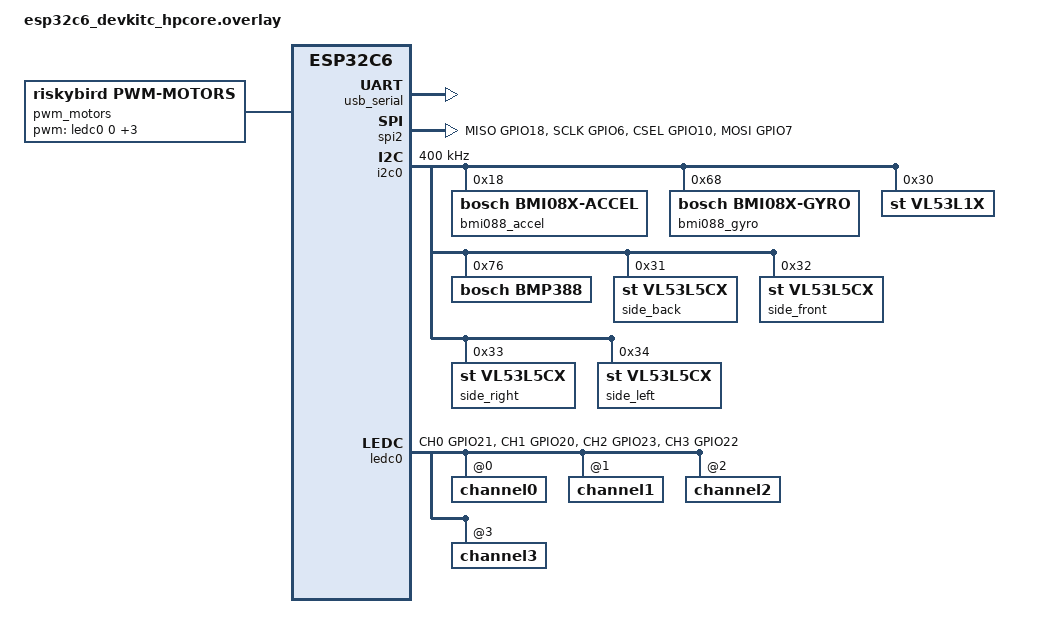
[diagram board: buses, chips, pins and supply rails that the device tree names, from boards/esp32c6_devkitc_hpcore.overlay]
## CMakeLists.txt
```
# SPDX-License-Identifier: Apache-2.0
cmake_minimum_required(VERSION 3.20.0)

find_package(Zephyr REQUIRED HINTS $ENV{ZEPHYR_BASE})
project(rose_flight_controller)

# Reuse the TinyMPC controller from samples/drone_control (requires:
#   git -C soc/sw/xpu-rt/zephyr-chipyard-sw submodule update --init
#   samples/drone_control/tinympc  -- see README.rst).
set(TINYMPC ${CMAKE_CURRENT_SOURCE_DIR}/../drone_control/tinympc)

if(RISCV_VECTOR)
  set(USE_CPU OFF CACHE BOOL "Enable RISCV Scalar support")
  set(USE_RVV ON  CACHE BOOL "Enable RVV support")
  set(USE_HANDOPT ON CACHE BOOL "Enable manual optimizations")
else()
  set(USE_CPU ON  CACHE BOOL "Enable RISCV Scalar support")
  set(USE_RVV OFF CACHE BOOL "Enable RVV support")
  set(USE_HANDOPT OFF CACHE BOOL "Enable manual optimizations")
endif()
set(USE_TYPE "float32" CACHE STRING "Floating point type for TinyMPC")

include(${TINYMPC}/external/matlib/matlib_header.cmake)

# State estimator selection (modular IStateEstimator; both are compiled, factory picks):
#   -DROSE_USE_EKF=0 -> complementary (quaternion Mahony + fixed-gain + lead compensation)
#   -DROSE_USE_EKF=1 -> EKF (quaternion Mahony + per-axis Kalman)
# Estimator selection (both compiled; factory picks). Default is the complementary filter,
# which currently holds the ALTITUDE loop best (its explicit vz correction beats the EKF's
# Kalman vz for control). The EKF is the robustness target (Q/R for noise) but its vz needs
# a direct velocity measurement to match; both use model-based delay compensation.
set(ROSE_USE_EKF 1 CACHE STRING "1=EKF, 0=complementary filter")
# Controller selection (modular IController; both are compiled, factory picks):
#   -DROSE_USE_PID=0 -> TinyMPC constrained MPC (default)
#   -DROSE_USE_PID=1 -> hierarchical PID cascade (ported from the old riskybird FreeRTOS firmware)
set(ROSE_USE_PID 0 CACHE STRING "1=hierarchical PID, 0=TinyMPC")
# Architecture knobs: ROSE_THREADED (1=modular threaded blocks, 0=single loop) and
# ROSE_CTRL_DIV (control runs every Nth estimator tick -> control rate = estimation / N).
set(ROSE_THREADED 0 CACHE STRING "1=threaded blocks, 0=single loop (default; see main.cpp note)")
set(ROSE_CTRL_DIV 1 CACHE STRING "control every Nth estimator tick (multi-rate)")
# Bench safety: stop driving motors this many ms after boot (0 = never). Real-HW bench
# bring-up builds with 10000 so the props auto-stop 10 s after reset. Keep 0 for flight.
set(ROSE_ACTUATE_TIMEOUT_MS 0 CACHE STRING "stop motor actuation N ms after boot (0=never)")
# Control-loop iteration count. Default 5000 suits the RoSE co-sim; on real HW the loop runs
# ~1 kHz, so raise this for a longer bench run (e.g. 120000 ~= 2 min).
set(CTRL_ITERS 5000 CACHE STRING "control-loop iteration count")
# Side-ToF wall "bumper": 1 = bring up the 4 VL53L5CX + apply bounded wall-repulsion lean.
# Adds ~12 s to boot (4x firmware upload). 0 = skip entirely (side_tof.c compiled but idle).
set(ROSE_BUMPER 0 CACHE STRING "1=enable side-ToF wall bumper, 0=disabled")
# Fast-boot variant: with ROSE_BUMPER=1, re-address the 4 sides off 0x29 (keeps the I2C bus clear for
# the down VL53L1X) but SKIP the ~84 KB-per-sensor ULD firmware upload + ranging. No wall data, but
# boot is ~0.5 s instead of ~12 s. Use when the FC doesn't consume walls (it currently doesn't).
set(ROSE_BUMPER_READDRESS_ONLY 0 CACHE STRING "1=re-address sides only (fast boot, no ranging)")
# Optical flow: 1 = bring up the PMW3901 (SPI2) + feed body-frame velocity to the estimator.
set(ROSE_FLOW 0 CACHE STRING "1=enable PMW3901 optical flow, 0=disabled")
# Barometer altitude fusion: 1 = read the BMP388 (needs a `baro` DT alias + CONFIG_BMP388) and fuse
# its smooth relative altitude with the down-ToF in the estimator (robust altitude under tilt /
# obstacle step-jumps). 0 = ToF-only (unchanged). Fine-tuning knobs (BARO_Z_GAIN, BARO_VZ_GAIN,
# BARO_BIAS_GAIN, BARO_TOF_STEP_M, R_BARO) are passed via -DEXTRA_CPPFLAGS like the flow knobs.
set(ROSE_BARO 0 CACHE STRING "1=enable BMP388 barometer altitude fusion, 0=disabled")

target_sources(app PRIVATE
  src/main.cpp
  src/estimator_complementary.cpp
  src/estimator_ekf.cpp
  src/estimator_factory.cpp
  src/controller_tinympc.cpp
  src/controller_pid.cpp
  src/controller_factory.cpp
  src/flightlog.c
  src/side_tof.c
  src/flow.c
  src/pmw3901.c
  ${TINYMPC}/external/admm/src/admm_rvv.cpp)

# WiFi SoftAP UDP telemetry downlink (docs/TELEMETRY_PLAN.md phase 2). Compiled ONLY when the
# opt-in telem.conf enables CONFIG_WIFI, so the normal flight build never sees it and stays
# byte-identical. All call sites in main.cpp are likewise `#if defined(CONFIG_WIFI)`.
if(CONFIG_WIFI)
  target_sources(app PRIVATE src/telem_wifi.c)
endif()

target_compile_definitions(app PRIVATE ROSE_USE_EKF=${ROSE_USE_EKF}
  ROSE_USE_PID=${ROSE_USE_PID}
  ROSE_THREADED=${ROSE_THREADED} ROSE_CTRL_DIV=${ROSE_CTRL_DIV}
  ROSE_ACTUATE_TIMEOUT_MS=${ROSE_ACTUATE_TIMEOUT_MS} CTRL_ITERS=${CTRL_ITERS}
  ROSE_BUMPER=${ROSE_BUMPER} ROSE_FLOW=${ROSE_FLOW} ROSE_BARO=${ROSE_BARO}
  ROSE_BUMPER_READDRESS_ONLY=${ROSE_BUMPER_READDRESS_ONLY})

target_include_directories(app PRIVATE
  ${TINYMPC}/external/admm/include
  ${TINYMPC}/external/matlib/include
  ${TINYMPC}/include
  ${TINYMPC}/examples)
```

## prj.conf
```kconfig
# Shared (board-agnostic) config for the flight controller. The SENSOR DRIVERS are
# board-specific and live in boards/<board>.conf:
#   - boards/spike_riscv64.conf          -> RoSE virtual sensor drivers (co-sim)
#   - boards/esp32c6_devkitc_hpcore.conf -> real bosch,bmi08x / st,vl53l1x drivers
# main/estimator/TinyMPC are identical across both.

CONFIG_SENSOR=y
CONFIG_PRINTK=y

# C++ + a large main stack for the TinyMPC solve (single-loop default runs it in main; the
# opt-in threaded build runs it in the control thread, which has its own equally-large stack).
CONFIG_CPP=y
CONFIG_REQUIRES_FULL_LIBCPP=n
CONFIG_MAIN_STACK_SIZE=327680

# NOTE: CONFIG_FPU is board-specific (spike_riscv64 has an FPU; the ESP32C6 rv32imac core
# does not -> soft float). Set per board in boards/<board>.conf.

CONFIG_BOOT_BANNER=n

# detect a thread stack overflow (prints instead of silently corrupting)
CONFIG_STACK_SENTINEL=y
CONFIG_THREAD_NAME=y
```

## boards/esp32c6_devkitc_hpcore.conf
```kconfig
# Real ESP32C6 target: I2C + real sensor drivers (bound by
# boards/esp32c6_devkitc_hpcore.overlay). The app reads them through the same sensor API
# as the RoSE virtual drivers -- only these Kconfigs + the overlay differ.
CONFIG_I2C=y
CONFIG_BMI08X=y
# VL53L1X down-ToF (hal_st now vendored). Polling mode: no DRDY int-gpio wired; the ADS7128
# powers XSHUT (board_sensor_init SYS_INIT), not a Zephyr gpio, so no CONFIG_VL53L1X_XSHUT.
CONFIG_VL53L1X=y
CONFIG_VL53L1X_INTERRUPT_MODE=n

# printf float support for the diagnostics
CONFIG_CBPRINTF_FP_SUPPORT=y
```

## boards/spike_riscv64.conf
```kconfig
# RoSE co-sim target: bridge driver + protocol + virtual sensor drivers (bound by
# boards/spike_riscv64.overlay). The app reads them through the standard sensor API.
CONFIG_ROSE=y
CONFIG_ROSE_PROTOCOL=y
CONFIG_ROSE_SENSOR_IMU=y
CONFIG_ROSE_SENSOR_FLOW=y
CONFIG_ROSE_SENSOR_TOF=y

CONFIG_PICOLIBC=y
CONFIG_COMMON_LIBC_MALLOC=y

# spike_riscv64 has a hardware FPU (the estimator uses float math).
CONFIG_FPU=y
```

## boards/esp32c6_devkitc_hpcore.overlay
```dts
/*
 * SPDX-License-Identifier: Apache-2.0
 *
 * REAL-hardware overlay for the shared flight controller on the ESP32C6 "riskybird" PCB.
 * The SAME application binds its sensors through the standard aliases (bmi088-accel/-gyro,
 * tof) -- here they resolve to the real bosch,bmi08x-* and st,vl53l1x drivers over I2C,
 * instead of the RoSE virtual drivers used on spike_riscv64. Pin map mirrors the
 * riskybird bmi088_test / sensor_bringup samples.
 *
 * Gaps for full real flight (out of scope here, see docs/ROSE_SENSOR_ABSTRACTION.md):
 *   - optical flow: needs a PMW3901 driver (not vendored in this Zephyr fork), so no
 *     `flow` alias -> the app compiles with flow disabled (HAVE_FLOW guard).
 *   - ToF: the st,vl53l1x driver needs the ST HAL module (hal_st, not installed here), so
 *     no `tof` alias -> the app compiles with ToF disabled (HAVE_TOF guard). Add hal_st +
 *     a vl53l1x@29 node + `tof` alias to enable it (see riskybird sensor_bringup).
 *   - motors: 4 brushed motors on low-side SI2302 FETs, driven by LEDC PWM below
 *     (`motors` alias). send_control() HARD-CAPS duty to MOTOR_MAX_DUTY (10%) for
 *     early bench bring-up -- enough to observe response, NOT to fly. Raise for flight.
 */

/* Route console + shell to the ESP32-C6 built-in USB Serial/JTAG so boot/telemetry appears on the
 * riskybird USB-C port (/dev/ttyACM*). The hpcore board defaults the console to UART0 physical pins
 * which are not broken out here, so without this the flight-controller logs go nowhere reachable. */
/ {
	chosen {
		zephyr,console = &usb_serial;
		zephyr,shell-uart = &usb_serial;
	};
};

&usb_serial {
	status = "okay";
};

&pinctrl {
	i2c0_default: i2c0_default {
		group1 {
			pinmux = <I2C0_SDA_GPIO15>, <I2C0_SCL_GPIO14>;
			bias-pull-up;
			drive-open-drain;
			output-high;
		};
	};

	/* Motor PWM (low-side SI2302 gates): M1=GPIO21/CH0 M2=GPIO20/CH1
	 * M3=GPIO23/CH2 M4=GPIO22/CH3 (mirrors samples/riskybird/actuator_bringup). */
	ledc0_default: ledc0_default {
		group1 {
			pinmux = <LEDC_CH0_GPIO21>, <LEDC_CH1_GPIO20>,
				 <LEDC_CH2_GPIO23>, <LEDC_CH3_GPIO22>;
			output-enable;
		};
	};

	/* PMW3901 optical-flow SPI (ROSE_FLOW): SCLK GPIO6, MOSI GPIO7, MISO GPIO18; software CS on
	 * GPIO19 (driven by flow.c). CSEL_GPIO10 is a dummy hardware CS (unused). Does NOT conflict
	 * with I2C0 (GPIO14/15). */
	spim2_flow: spim2_flow {
		group1 {
			pinmux = <SPIM2_MISO_GPIO18>, <SPIM2_SCLK_GPIO6>, <SPIM2_CSEL_GPIO10>;
		};
		group2 {
			pinmux = <SPIM2_MOSI_GPIO7>;
			output-low;
		};
	};
};

&spi2 {
	status = "okay";
	pinctrl-0 = <&spim2_flow>;
	pinctrl-names = "default";
};

&i2c0 {
	status = "okay";
	pinctrl-0 = <&i2c0_default>;
	pinctrl-names = "default";
	clock-frequency = <I2C_BITRATE_FAST>;

	/* BMI088 6-axis IMU (accel @0x18, gyro @0x68) */
	bmi088_accel: bmi08x@18 {
		compatible = "bosch,bmi08x-accel";
		reg = <0x18>;
		accel-hz = "800";
		accel-fs = <6>;
		status = "okay";
	};
	bmi088_gyro: bmi08x@68 {
		compatible = "bosch,bmi08x-gyro";
		reg = <0x68>;
		gyro-hz = "1000_116";
		gyro-fs = <1000>;
		status = "okay";
	};

	/* VL53L1X down-ToF. Powers on at 0x29 (like all VL53Lx), but main.cpp's vl53l1x_readdress_down()
	 * moves it to 0x30 at boot so it never shares 0x29 with the 4 side VL53L5CX as they power up +
	 * readdress to 0x31-0x34 (else the down gets clobbered -> stuck 0mm). reg MUST match
	 * VL53L1X_DOWN_ADDR. Powered via the ADS7128 GPIO6 XSHUT by the board_sensor_init() SYS_INIT hook
	 * (main.cpp) before this driver inits; the deferred ST init runs in main via vl53l1x_reinit().
	 * hal_st is vendored (west workspace), so CONFIG_VL53L1X builds. */
	vl53l1x: vl53l1x@30 {
		compatible = "st,vl53l1x";
		reg = <0x30>;
		status = "okay";
	};

	/* BMP388 barometer (U5 @0x76; ADR/SDO tied low). Bosch "drone" preset: ODR 50 Hz, pressure
	 * oversampling x8 (19-bit, ~0.33 Pa), IIR filter 3. Fused with the down-ToF for altitude
	 * (ROSE_BARO=1): the ToF is the absolute floor anchor, the baro fills tilt/step gaps and is
	 * bias-calibrated by the ToF in the estimator. `baro` alias -> HAVE_BARO. */
	bmp388: bmp388@76 {
		compatible = "bosch,bmp388";
		reg = <0x76>;
		odr = "50";
		osr-press = <8>;
		osr-temp = <1>;
		iir-filter = <3>;
		status = "okay";
	};

	/* 4 side-facing VL53L5CX wall sensors (bumper). All default to 0x29; side_tof.c enables each
	 * via ADS7128 GPIO1-4 and readdresses to 0x31-0x34 at runtime, so the DT reg is the FINAL
	 * address. Map: 0x31=GPIO1=J9=back, 0x32=GPIO2=J2=front, 0x33=GPIO3=J11=right, 0x34=GPIO4=J10=left. */
	side_back: vl53l5cx@31 {
		compatible = "st,vl53l5cx";
		reg = <0x31>;
	};
	side_front: vl53l5cx@32 {
		compatible = "st,vl53l5cx";
		reg = <0x32>;
	};
	side_right: vl53l5cx@33 {
		compatible = "st,vl53l5cx";
		reg = <0x33>;
	};
	side_left: vl53l5cx@34 {
		compatible = "st,vl53l5cx";
		reg = <0x34>;
	};
};

/ {
	aliases {
		side-back = &side_back;
		side-front = &side_front;
		side-right = &side_right;
		side-left = &side_left;
	};
};

&ledc0 {
	status = "okay";
	pinctrl-0 = <&ledc0_default>;
	pinctrl-names = "default";
	#address-cells = <1>;
	#size-cells = <0>;

	channel0@0 { reg = <0x0>; timer = <0>; };
	channel1@1 { reg = <0x1>; timer = <0>; };
	channel2@2 { reg = <0x2>; timer = <0>; };
	channel3@3 { reg = <0x3>; timer = <0>; };
};

/ {
	/* 4 motor PWM outputs for the flight controller's `motors` alias.
	 * Index maps: u[0]->M1(GPIO21) u[1]->M2(GPIO20) u[2]->M3(GPIO23) u[3]->M4(GPIO22).
	 * 20 kHz (50000 ns); app maps thrust->duty and HARD-CAPS it in send_control(). */
	pwm_motors: pwm_motors {
		compatible = "riskybird,pwm-motors";
		pwms = <&ledc0 0 50000 0>,
		       <&ledc0 1 50000 0>,
		       <&ledc0 2 50000 0>,
		       <&ledc0 3 50000 0>;
	};

	aliases {
		bmi088-accel = &bmi088_accel;
		bmi088-gyro  = &bmi088_gyro;
		tof = &vl53l1x;
		baro = &bmp388;
		motors = &pwm_motors;
	};
};
```

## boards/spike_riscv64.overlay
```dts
/* RoSE co-sim overlay for the shared flight controller.
 *
 * Declares the RoSE bridge adapter (control MMIO @0x2000, DMA-complete IRQ = PLIC src 3)
 * and the VIRTUAL sensor devices that hang off it. The app binds sensors through the
 * standard aliases (bmi088-accel/-gyro, flow, tof) exactly as on real hardware; here they
 * resolve to the ucbbar,rose-* drivers that fetch from the RoSE bridge. Command IDs /
 * reqrsp channels match config_gym_IsaacCrazyflieSensorEnv-v0.yaml.
 */
/ {
	rose0: rose@2000 {
		compatible = "ucbbar,RoseAdapter";
		reg = <0x2000 0x1000>;
		interrupt-parent = <&plic>;
		interrupts = <3 1>;
		num-reqrsp-channels = <2>;
		num-dma-channels = <1>;
		dma-base-address = <0x88000000>;
		status = "okay";
	};

	rose_imu_accel: rose-imu-accel {
		compatible = "ucbbar,rose-imu";
		rose = <&rose0>;
		rose-cmd = <0x12>;      /* accelerometer packet: 3 words [ax,ay,az] */
		rose-channel = <2>;     /* reqrsp1 */
		status = "okay";
	};
	rose_imu_gyro: rose-imu-gyro {
		compatible = "ucbbar,rose-imu";
		rose = <&rose0>;
		rose-cmd = <0x15>;      /* gyroscope packet: 3 words [gx,gy,gz] (separate device) */
		rose-channel = <2>;
		is-gyro;
		status = "okay";
	};
	rose_flow: rose-flow {
		compatible = "ucbbar,rose-flow";
		rose = <&rose0>;
		rose-cmd = <0x13>;      /* flow packet: 2 words [vx,vy] */
		rose-channel = <1>;     /* reqrsp0 */
		status = "okay";
	};
	rose_tof: rose-tof {
		compatible = "ucbbar,rose-tof";
		rose = <&rose0>;
		rose-cmd = <0x14>;      /* tof packet: 1 word [height], low-rate */
		rose-channel = <1>;
		decimation = <6>;       /* 200 Hz / 6 ~= 33 Hz ToF */
		status = "okay";
	};

	aliases {
		bmi088-accel = &rose_imu_accel;
		bmi088-gyro  = &rose_imu_gyro;
		flow         = &rose_flow;
		tof          = &rose_tof;
	};
};
```

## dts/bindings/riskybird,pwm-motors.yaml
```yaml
# SPDX-License-Identifier: Apache-2.0
description: |
  RiskyBird 4-motor PWM output group. Exposes one PWM specifier per motor via a
  flat 'pwms' phandle-array (indices 0..3 == flight-controller u[0..3]), consumed
  with PWM_DT_SPEC_GET_BY_IDX(DT_ALIAS(motors), i).

compatible: "riskybird,pwm-motors"

include: base.yaml

properties:
  pwms:
    type: phandle-array
    required: true
    description: One PWM specifier per motor (index 0..3).
```

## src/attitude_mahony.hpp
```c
/*
 * Copyright (c) 2026 UC Berkeley
 * SPDX-License-Identifier: Apache-2.0
 *
 * Shared quaternion Mahony attitude filter, reused by every estimator implementation so
 * the (well-behaved) attitude path isn't duplicated. Integrates the gyro on the quaternion
 * manifold and trims roll/pitch toward the accelerometer ONLY when |accel| ~ g, so linear
 * acceleration doesn't inject false tilt. Yaw has no absolute reference (gyro only).
 */

#ifndef ROSE_ATTITUDE_MAHONY_HPP
#define ROSE_ATTITUDE_MAHONY_HPP

#include <math.h>

struct MahonyAttitude {
	float qw, qx, qy, qz;   /* body->world quaternion */
	float kp;               /* gravity-trim gain (gated by |accel|) */

	void init()
	{
		qw = 1.0f; qx = qy = qz = 0.0f;
		/* Low gain: lean on the (drift-free short-term) gyro; the accelerometer only
		 * slowly trims roll/pitch. A |accel|-magnitude gate can't reject small LATERAL
		 * accelerations (|accel| stays ~g while its direction tilts), so a high gain
		 * corrupts attitude during maneuvers -> horizontal instability. (Raise kp again
		 * once gyro noise/bias is modeled, trading gyro drift vs accel corruption.) */
		kp = 0.5f;
	}

	/* One-time heading calibration: seed a LEVEL quaternion at yaw = psi (roll=pitch=0).
	 * The Mahony filter has no absolute yaw reference (gyro-only), so on the co-sim spawn we
	 * calibrate the initial heading to the known takeoff yaw ONCE; the gyro then carries it
	 * forward closed-loop. Mirrors the tof-based z-init -- a one-time seed, NOT continuous GT. */
	void set_yaw(float psi)
	{
		qw = cosf(0.5f * psi); qx = 0.0f; qy = 0.0f; qz = sinf(0.5f * psi);
	}

	/* Advance the quaternion with body rate + gated gravity trim. */
	void update(const float accel[3], const float gyro[3], float dt)
	{
		float wx = gyro[0], wy = gyro[1], wz = gyro[2];
		float amag = sqrtf(accel[0]*accel[0] + accel[1]*accel[1] + accel[2]*accel[2]);
		if (amag > 1e-3f) {
			float gate = 1.0f - fabsf(amag - 9.81f) / (0.5f * 9.81f);
			if (gate > 0.0f) {
				float ax = accel[0]/amag, ay = accel[1]/amag, az = accel[2]/amag;
				/* predicted world +z ("up") expressed in body = R^T*(0,0,1) */
				float vux = 2.0f * (qx*qz - qw*qy);
				float vuy = 2.0f * (qy*qz + qw*qx);
				float vuz = 1.0f - 2.0f * (qx*qx + qy*qy);
				float ex = ay*vuz - az*vuy;
				float ey = az*vux - ax*vuz;
				float ez = ax*vuy - ay*vux;
				float k = kp * gate;
				wx += k*ex; wy += k*ey; wz += k*ez;
			}
		}
		float dqw = -0.5f * (qx*wx + qy*wy + qz*wz);
		float dqx =  0.5f * (qw*wx + qy*wz - qz*wy);
		float dqy =  0.5f * (qw*wy - qx*wz + qz*wx);
		float dqz =  0.5f * (qw*wz + qx*wy - qy*wx);
		qw += dqw*dt; qx += dqx*dt; qy += dqy*dt; qz += dqz*dt;
		float n = sqrtf(qw*qw + qx*qx + qy*qy + qz*qz);
		if (n > 1e-9f) { qw /= n; qx /= n; qy /= n; qz /= n; }
	}

	/* Body->world rotation matrix (row-major R[0..8]). */
	void rot(float R[9]) const
	{
		R[0] = 1 - 2*(qy*qy + qz*qz); R[1] = 2*(qx*qy - qw*qz);     R[2] = 2*(qx*qz + qw*qy);
		R[3] = 2*(qx*qy + qw*qz);     R[4] = 1 - 2*(qx*qx + qz*qz); R[5] = 2*(qy*qz - qw*qx);
		R[6] = 2*(qx*qz - qw*qy);     R[7] = 2*(qy*qz + qw*qx);     R[8] = 1 - 2*(qx*qx + qy*qy);
	}

	/* Rodrigues params r = q_xyz / qw (matches the env/TinyMPC convention). */
	void rodrigues(float r[3]) const
	{
		float w = qw;
		if (fabsf(w) < 1e-9f) w = (w >= 0.0f) ? 1e-9f : -1e-9f;
		r[0] = qx / w; r[1] = qy / w; r[2] = qz / w;
	}
};

#endif /* ROSE_ATTITUDE_MAHONY_HPP */
```

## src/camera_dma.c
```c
/*
 * Copyright (c) 2026 UC Berkeley
 * SPDX-License-Identifier: Apache-2.0
 *
 * See camera_dma.h. Body compiled only when ROSE_CAMERA_DMA=1; otherwise empty stubs so non-camera
 * builds are unaffected. Requires a DMA-capable OSPI shell (RocketArty200TDroneFullDDRDmaConfig).
 */
#include "camera_dma.h"

#if ROSE_CAMERA_DMA

#include <zephyr/kernel.h>
#include <zephyr/drivers/i2c.h>
#include <zephyr/sys/printk.h>
#include <errno.h>
#include <stdint.h>
#include <string.h>

/* OSPI capture + DMA register map (base 0x10080000). */
#define OSPI_BASE       0x10080000UL
#define O_CTRL          0x00
#define O_MCLKDIV       0x08
#define O_FIFOCOUNT     0x0c
#define O_CAPACITY      0x24
#define O_PIXTARGET     0x28
#define O_FVLDCNT       0x34
#define O_DMA_ADDR_LO   0x44
#define O_DMA_ADDR_HI   0x48
#define O_DMA_LEN       0x4c
#define O_DMA_CTRL      0x50
#define O_DMA_STATUS    0x54
#define CTRL_EN   (1u<<0)
#define CTRL_CLR  (1u<<4)
#define CTRL_FLU  (1u<<5)
#define CTRL_ARM  (1u<<6)
#define DMA_EN    (1u<<0)
#define DMA_START (1u<<1)
#define DMA_CLEAR (1u<<3)
#define DMA_BUSY  (1u<<0)
#define DMA_DONE  (1u<<1)
#define DMA_ERROR (1u<<2)   /* a denied/corrupt bus response during the transfer */
#define O_DMA_BYTES     0x58 /* bytes the current/last transfer wrote to DDR */

#define CAM_ADDR   0x24
#define CAP_PIXELS 104000
#define MCLK_DIV   1

static uint8_t __aligned(64) cam_buf[128 * 1024];   /* DDR sink for the DMA */
static volatile uint32_t g_frames;
static volatile uint32_t g_last_mean;

/* ---- on-demand snapshot streaming over uart1 (GCS "SNAP <w> <h>" command) ------------------- *
 * The captured frame is ~326 wide; CAP_PIXELS/326 full rows fit the DDR buffer. On request we
 * nearest-neighbour downsample cam_buf to w x h, base64 it, and emit newline-framed chunks the
 * ESP bridge relays to the GCS on UDP :14550:
 *     IMG s=<seq> k=<chunk>/<total> w=<W> h=<H> <base64 of W*H grayscale bytes>
 * Streaming runs in this low-prio camera thread (between captures) so the control loop is undisturbed. */
#include "telem_uart.h"
#include <zephyr/sys/printk.h>   /* snprintk */

/* True line stride of the captured frame in cam_buf = 324 (HM01B0 active line). Verified by
 * reconstructing a raw buffer dump: at 324 the image is coherent with straight vertical edges; at
 * 326/325 it sheared/duplicated (326 was the old guess; a 648=2x324 autocorrelation alias briefly
 * looked like 325). 104000/324 = 320 rows captured. */
#define SRC_W 324
#define SRC_H (CAP_PIXELS / SRC_W)   /* 320 rows */

/* Periodic auto-snapshot: stream a snapshot every Nth captured frame so the GCS shows a live camera
 * view even without the uplink command path. 0 = off (on-demand SNAP only). */
#ifndef ROSE_CAM_AUTOSNAP
#define ROSE_CAM_AUTOSNAP 0
#endif
/* 128x126 keeps the sensor's near-square 324x320 aspect (vs a stretched 80x60) and is high enough
 * that the phone doesn't show chunky pixels; ~21.5 KB base64 -> ~2 s per frame over the 115200 link. */
#ifndef ROSE_CAM_AUTOSNAP_W
#define ROSE_CAM_AUTOSNAP_W 128
#endif
#ifndef ROSE_CAM_AUTOSNAP_H
#define ROSE_CAM_AUTOSNAP_H 126
#endif

static volatile int      g_snap_w, g_snap_h;
static volatile uint32_t g_snap_req;   /* nonzero seq = a snapshot is requested */

/* On-board grab (camera_dma_grab_gray). Everything below is under grab_mtx: the caller posts a
 * request {gen, w, h}; the capture thread answers the gen it captured for (done_*) and gives
 * grab_sem. A caller only accepts the answer to its own gen, and cancels its request on timeout, so a
 * late answer to an abandoned request can never be taken for a newer one. cam_wake cuts the idle poll
 * short so a grab does not wait out the 100 ms snapshot poll. */
static uint8_t  grab_buf[CAMERA_DMA_GRAB_MAX];
static uint32_t grab_req_gen;      /* pending request; 0 = none */
static int      grab_req_w, grab_req_h;
static uint32_t grab_done_gen;     /* request the result below answers */
static bool     grab_done_ok;
static uint32_t grab_done_frame;
static int64_t  grab_done_t_ms;
K_MUTEX_DEFINE(grab_mtx);
K_SEM_DEFINE(grab_sem, 0, 1);
K_SEM_DEFINE(cam_wake, 0, 1);

/* Bound on the scheduler-locked frame-edge spin when a grab is being served. That spin keeps the
 * control loop off the CPU; the pre-sleep leaves ~3 ms to the edge, so a longer wait means the edge
 * was missed or streaming stopped, and the grab fails rather than stalling the loop. */
#ifndef CAM_GRAB_EDGE_SPIN_US
#define CAM_GRAB_EDGE_SPIN_US 5000
#endif

static const char B64[] =
	"ABCDEFGHIJKLMNOPQRSTUVWXYZabcdefghijklmnopqrstuvwxyz0123456789+/";

/* base64-encode n (<=3) bytes into out (4 chars, with '=' padding); returns 4. */
static int b64_triplet(const uint8_t *in, int n, char *out)
{
	uint32_t v = (uint32_t)in[0] << 16;
	if (n > 1) v |= (uint32_t)in[1] << 8;
	if (n > 2) v |= (uint32_t)in[2];
	out[0] = B64[(v >> 18) & 0x3F];
	out[1] = B64[(v >> 12) & 0x3F];
	out[2] = (n > 1) ? B64[(v >> 6) & 0x3F] : '=';
	out[3] = (n > 2) ? B64[v & 0x3F] : '=';
	return 4;
}

/* Output pixel (ox, oy) of a w x h downsample of cam_buf. */
static uint8_t box_avg(int ox, int oy, int w, int h)
{
	int sy0 = oy * SRC_H / h, sy1 = (oy + 1) * SRC_H / h;
	if (sy1 <= sy0) { sy1 = sy0 + 1; }
	/* Force an EVEN-length row span so the block holds equal even/odd source rows -- otherwise a
	 * 3-row block (2:1 parity) leaves a residual of the period-2 row FPN. See column note below. */
	if (((sy1 - sy0) & 1) && sy1 < SRC_H) { sy1++; }
	int sx0 = ox * SRC_W / w, sx1 = (ox + 1) * SRC_W / w;
	if (sx1 <= sx0) { sx1 = sx0 + 1; }
	if (((sx1 - sx0) & 1) && sx1 < SRC_W) { sx1++; }
	/* Box-average the whole source block into one output pixel (not nearest-neighbour). The
	 * HM01B0 has period-2 fixed-pattern noise on BOTH axes -- even/odd row offsets (~92 vs 74)
	 * AND even/odd column offsets (per-column ADCs) -- which together read as a checkerboard
	 * grid. Averaging over an EVEN number of rows and columns puts equal even/odd members in
	 * every block, cancelling both; a plain variable 2-or-3 span left a residual grid. It also
	 * anti-aliases the downscale. (A single-row/col pick would alias the FPN into stripes.) */
	uint32_t sum = 0, cnt = 0;
	for (int sy = sy0; sy < sy1; sy++) {
		const uint8_t *row = &cam_buf[(uint32_t)sy * SRC_W];
		for (int sx = sx0; sx < sx1; sx++) { sum += row[sx]; cnt++; }
	}
	return (uint8_t)(sum / cnt);
}

/* Answer grab request gen (if it is still the pending one): downsample cam_buf on success. */
static void grab_answer(uint32_t gen, bool ok, uint32_t frame, int64_t t_ms, int w, int h)
{
	k_mutex_lock(&grab_mtx, K_FOREVER);
	if (grab_req_gen == gen) {
		if (ok) {
			for (int oy = 0; oy < h; oy++) {
				for (int ox = 0; ox < w; ox++) { grab_buf[oy * w + ox] = box_avg(ox, oy, w, h); }
			}
		}
		grab_done_gen = gen;
		grab_done_ok = ok;
		grab_done_frame = frame;
		grab_done_t_ms = t_ms;
	}
	k_mutex_unlock(&grab_mtx);
	k_sem_give(&grab_sem);
}

static void stream_snapshot(uint32_t seq, int w, int h)
{
	if (w < 8) w = 8;  if (w > SRC_W) w = SRC_W;
	if (h < 8) h = 8;  if (h > SRC_H) h = SRC_H;

	enum { RAW_PER = 150 };            /* multiple of 3 -> clean base64; 200 b64/chunk (~240 B line).
					    * Safe now the ESP bridge does interrupt-driven RX into an 8 KB ring
					    * (fpga_telem_bridge) -- it no longer loses bytes on a sustained burst. */
	const int total = (w * h + RAW_PER - 1) / RAW_PER;
	char line[560];
	uint8_t raw[RAW_PER];
	int rn = 0, k = 0;

	for (int oy = 0; oy < h; oy++) {
		for (int ox = 0; ox < w; ox++) {
			raw[rn++] = box_avg(ox, oy, w, h);
			if (rn == RAW_PER) {
				int off = snprintk(line, sizeof(line), "IMG s=%u k=%d/%d w=%d h=%d ",
						   seq, k++, total, w, h);
				for (int i = 0; i < rn; i += 3)
					off += b64_triplet(&raw[i], (rn - i) < 3 ? (rn - i) : 3, &line[off]);
				line[off++] = '\n'; line[off] = '\0';
				telem_uart_line(line);
				k_msleep(5);   /* light pace so the ISR-relayed ring drains via UDP + RBT interleaves */
				rn = 0;
			}
		}
	}
	if (rn > 0) {
		int off = snprintk(line, sizeof(line), "IMG s=%u k=%d/%d w=%d h=%d ",
				   seq, k++, total, w, h);
		for (int i = 0; i < rn; i += 3)
			off += b64_triplet(&raw[i], (rn - i) < 3 ? (rn - i) : 3, &line[off]);
		line[off++] = '\n'; line[off] = '\0';
		telem_uart_line(line);
	}
}

/* Himax reference init (clock-safe subset; matches camera_image_fpga / camera_dma_fpga). */
static const struct { uint16_t r; uint8_t v; } HM_INIT[] = {
	{0x1003,0x08},{0x1007,0x08},{0x1000,0x43},{0x1001,0x40},{0x1002,0x32},{0x0350,0x7F},
	{0x1006,0x01},{0x1008,0x00},{0x1009,0xA0},{0x100A,0x60},{0x100B,0x90},{0x100C,0x40},
	{0x3044,0x0A},{0x3045,0x00},{0x3047,0x0A},{0x3050,0xC0},{0x3051,0x42},{0x3052,0x50},
	{0x3053,0x00},{0x3054,0x03},{0x3055,0xF7},{0x3056,0xF8},{0x3057,0x29},{0x3058,0x1F},
	{0x3064,0x00},{0x3065,0x04},{0x3022,0x01},{0x1012,0x01},{0x2000,0x07},
	{0x2100,0x01},{0x2101,0x40},{0x2102,0x0A},{0x2103,0x03},{0x2104,0x07},
	{0x2105,0x02},{0x2106,0x20},{0x2108,0x03},{0x2109,0x03},{0x210B,0x80},
	{0x0101,0x01},{0x0104,0x01},
};

static inline void     w32(uintptr_t o, uint32_t v) { *(volatile uint32_t *)(OSPI_BASE + o) = v; }
static inline uint32_t r32(uintptr_t o) { return *(volatile uint32_t *)(OSPI_BASE + o); }

static int cam_wr(const struct device *b, uint16_t reg, uint8_t val)
{
	uint8_t tx[3] = { (uint8_t)(reg >> 8), (uint8_t)(reg & 0xff), val };
	return i2c_write(b, tx, sizeof(tx), CAM_ADDR);
}
static int cam_rd(const struct device *b, uint16_t reg, uint8_t *val)
{
	uint8_t rb[2] = { (uint8_t)(reg >> 8), (uint8_t)(reg & 0xff) };
	return i2c_write_read(b, CAM_ADDR, rb, sizeof(rb), val, 1);
}

static void cam_thread(void *a, void *b, void *c)
{
	ARG_UNUSED(a); ARG_UNUSED(b); ARG_UNUSED(c);
	/* The one-time SCCB init is ~40 I2C transactions on the shared i2c0 bus. At the capture-loop
	 * priority (12) it is starved forever by the flat-out control loop + the down-ToF thread (which
	 * always win the bus mutex). Boost above them for the init, then drop back so the capture loop
	 * never disturbs the control loop. */
	k_thread_priority_set(k_current_get(), 5);
	const struct device *bus = DEVICE_DT_GET(DT_NODELABEL(i2c0));
	if (!device_is_ready(bus)) { printk("camera_dma: i2c0 not ready\n"); return; }
	printk("camera_dma: OSPI capacity=%u\n", r32(O_CAPACITY));

	if (r32(O_CAPACITY) == 0) { printk("camera_dma: no OSPI capture peripheral (need DMA shell)\n"); return; }

	w32(O_MCLKDIV, MCLK_DIV);
	w32(O_CTRL, CTRL_EN);

	uint8_t hi = 0, lo = 0;
	if (cam_rd(bus, 0x0000, &hi) || cam_rd(bus, 0x0001, &lo) || (((uint16_t)hi << 8) | lo) != 0x01B0) {
		printk("camera_dma: HM01B0 MODEL_ID 0x%02x%02x (bad) -- camera off\n", hi, lo);
		return;
	}
	cam_wr(bus, 0x0103, 0x01); k_msleep(50); cam_wr(bus, 0x0100, 0x00);   /* SW reset + standby */
	for (unsigned i = 0; i < sizeof(HM_INIT) / sizeof(HM_INIT[0]); i++) { cam_wr(bus, HM_INIT[i].r, HM_INIT[i].v); }
	cam_wr(bus, 0x0601, 0x00);          /* live (no test pattern) */
	cam_wr(bus, 0x0100, 0x01);          /* stream */
	k_msleep(1200);
	printk("camera_dma: HM01B0 streaming; DMA capture thread running (buf @ %p)\n", (void *)cam_buf);
	k_thread_priority_set(k_current_get(), 12);   /* init done -> low prio for the capture loop */

	uintptr_t dst = (uintptr_t)cam_buf;

	/* Measure the FVLDCNT tick period (ms) so the aligned capture below can pre-sleep most of a frame
	 * preemptibly and hold the scheduler lock only for the last few ms while it catches the exact edge. */
	int tick_ms;
	{
		uint32_t c0 = r32(O_FVLDCNT), t0 = k_uptime_get_32();
		while (r32(O_FVLDCNT) - c0 < 10 && k_uptime_get_32() - t0 < 1000) { k_busy_wait(100); }
		uint32_t dc = r32(O_FVLDCNT) - c0, dt = k_uptime_get_32() - t0;
		tick_ms = (dc > 0) ? (int)(dt / dc) : 16;
		if (tick_ms < 2) { tick_ms = 2; }
	}

	const uint32_t grab_spin_cyc = k_us_to_cyc_ceil32(CAM_GRAB_EDGE_SPIN_US);
	uint32_t iter = 0;
	for (;;) {
		/* The aligned capture briefly locks the scheduler -- so only capture when there's actually a
		 * snapshot to send or an on-board grab waiting. */
		iter++;
		uint32_t req = g_snap_req;
		uint32_t ggen = 0;
		int gw = 0, gh = 0;
		k_mutex_lock(&grab_mtx, K_FOREVER);
		if (grab_req_gen != 0 && grab_req_gen != grab_done_gen) {
			ggen = grab_req_gen; gw = grab_req_w; gh = grab_req_h;
		}
		k_mutex_unlock(&grab_mtx);
		bool grab = ggen != 0;
		int sw = 0, sh = 0;
		if (req)                                  { sw = g_snap_w;            sh = g_snap_h; }
#if ROSE_CAM_AUTOSNAP
		else if ((iter % ROSE_CAM_AUTOSNAP) == 0) { sw = ROSE_CAM_AUTOSNAP_W; sh = ROSE_CAM_AUTOSNAP_H; }
#endif
		if (sw == 0 && !grab) { k_sem_take(&cam_wake, K_MSEC(100)); continue; }

		/* --- Frame-aligned bounded capture into the OSPI frame buffer. ---
		 * The capture core starts filling the instant it is ARMed, so ARM must land right at a frame
		 * edge or the buffer begins mid-frame and the image comes out cyclically ROLLED (the corner
		 * lands in the middle). This low-prio thread was being preempted between detecting the FVLD
		 * edge and arming -- a variable ms of pixels stream through in that gap -> intermittent roll.
		 * Fix: pre-sleep most of the frame preemptibly, then k_sched_lock (interrupts stay live) only
		 * while spinning for the exact edge and arming, so no thread can slip in between. */
		/* DMA_CLEAR does not abort a transfer: one that timed out earlier may still be collecting,
		 * and would swallow this frame's pixels and report its own completion as ours. A grab
		 * never starts on a busy engine. */
		if (grab && (r32(O_DMA_STATUS) & DMA_BUSY)) {
			grab_answer(ggen, false, 0, 0, gw, gh);
			if (sw == 0) { k_msleep(tick_ms); continue; }
			grab = false;
		}
		w32(O_PIXTARGET, CAP_PIXELS);
		uint32_t fv = r32(O_FVLDCNT);
		for (int g = 0; g < 200 && r32(O_FVLDCNT) == fv; g++) { k_msleep(1); }   /* phase-lock to a frame */
		if (tick_ms > 4) { k_msleep(tick_ms - 3); }                             /* skip most of it */
		k_sched_lock();
		fv = r32(O_FVLDCNT);
		const uint32_t spin_c0 = k_cycle_get_32();
		for (int g = 0; g < 500000 && r32(O_FVLDCNT) == fv; g++) {                /* catch the exact edge */
			if (grab && k_cycle_get_32() - spin_c0 >= grab_spin_cyc) { break; }
		}
		const bool edge_ok = r32(O_FVLDCNT) != fv;
		if (!edge_ok && sw == 0) {
			k_sched_unlock();                   /* grab only: fail it rather than arm mid-frame */
			grab_answer(ggen, false, 0, 0, gw, gh);
			continue;
		}
		w32(O_CTRL, CTRL_EN | CTRL_CLR | CTRL_FLU);                             /* drop any pre-edge pixels */
		w32(O_CTRL, CTRL_EN | CTRL_ARM);                                        /* arm at the frame start */
		w32(O_CTRL, CTRL_EN);
		const int64_t t_capture = k_uptime_get();   /* the frame starts now, not when we resume */
		k_sched_unlock();
		for (int t = 0; t < 60 && r32(O_FIFOCOUNT) < (CAP_PIXELS - 4096); t++) { k_msleep(1); }
		const bool fill_ok = r32(O_FIFOCOUNT) >= (CAP_PIXELS - 4096);

		/* Kick the DMA to drain the frame buffer to DDR (HW moves the bytes; CPU just waits). */
		w32(O_DMA_ADDR_LO, (uint32_t)(dst & 0xffffffffu));
		w32(O_DMA_ADDR_HI, (uint32_t)(dst >> 32));
		w32(O_DMA_LEN, CAP_PIXELS);
		w32(O_DMA_CTRL, DMA_EN | DMA_START);
		w32(O_DMA_CTRL, DMA_EN);
		uint32_t st = 0;
		for (int d = 0; d < 40; d++) {
			st = r32(O_DMA_STATUS);
			/* A grab waits for DONE itself: not-busy can also be read before the start is taken. */
			if ((!grab && !(st & DMA_BUSY)) || (st & DMA_DONE)) break;
			k_msleep(1);
		}
		/* A usable frame: the transfer finished, no bus error, and it stopped at the length cap -- an
		 * early EOF leaves the tail of cam_buf holding the previous frame. */
		const bool dma_ok = (st & DMA_DONE) && !(st & DMA_ERROR) &&
				    r32(O_DMA_BYTES) == CAP_PIXELS;
		w32(O_DMA_CTRL, DMA_EN | DMA_CLEAR);

		/* Cheap liveness signal: mean of a sparse sample of the DDR frame (don't read every pixel). */
		uint32_t sum = 0, n = 0;
		for (uint32_t i = 0; i < CAP_PIXELS; i += 512) { sum += cam_buf[i]; n++; }
		g_last_mean = n ? sum / n : 0;
		g_frames++;

		if (grab) {
			/* Only a frame that was edge-aligned, filled and fully DMA'd is handed to a consumer. */
			grab_answer(ggen, edge_ok && fill_ok && dma_ok, g_frames, t_capture, gw, gh);
		}

		/* Send it. High seq bit marks an auto-snapshot vs an on-demand one. */
		if (sw != 0) { stream_snapshot(req ? req : (0x80000000u | g_frames), sw, sh); }
		if (req) { g_snap_req = 0; }
	}
}

/* Low priority (below main / the control loop) so it only runs in the loop's I2C-wait gaps. */
K_THREAD_DEFINE(cam_tid, 8192, cam_thread, NULL, NULL, NULL, 12, 0, 0);

void camera_dma_init(void) { /* thread auto-starts */ }
uint32_t camera_dma_frames(void) { return g_frames; }
uint32_t camera_dma_last_mean(void) { return g_last_mean; }

void camera_dma_request_snapshot(uint32_t seq, int w, int h)
{
	g_snap_w = w;
	g_snap_h = h;
	g_snap_req = seq ? seq : 1;   /* nonzero -> serviced by the camera thread */
}

int32_t camera_dma_grab_gray(uint8_t *dst, int w, int h, int32_t timeout_ms, int64_t *t_capture_ms)
{
	static uint32_t gen;

	if (w < 1 || h < 1 || w > SRC_W || h > SRC_H || w * h > CAMERA_DMA_GRAB_MAX) {
		return -EINVAL;
	}
	if (++gen == 0) { gen = 1; }
	k_mutex_lock(&grab_mtx, K_FOREVER);
	grab_req_gen = gen;
	grab_req_w = w;
	grab_req_h = h;
	k_mutex_unlock(&grab_mtx);
	k_sem_give(&cam_wake);

	const int64_t deadline = k_uptime_get() + timeout_ms;
	for (;;) {
		const int64_t left = deadline - k_uptime_get();
		if (left <= 0 || k_sem_take(&grab_sem, K_MSEC(left)) != 0) {
			k_mutex_lock(&grab_mtx, K_FOREVER);
			if (grab_req_gen == gen) { grab_req_gen = 0; }   /* cancel: a late answer is dropped */
			k_mutex_unlock(&grab_mtx);
			return -EAGAIN;
		}
		k_mutex_lock(&grab_mtx, K_FOREVER);
		if (grab_done_gen != gen) {          /* an answer to an older, abandoned request */
			k_mutex_unlock(&grab_mtx);
			continue;
		}
		const bool ok = grab_done_ok;
		const uint32_t frame = grab_done_frame;
		if (ok) {
			memcpy(dst, grab_buf, (size_t)w * (size_t)h);
			*t_capture_ms = grab_done_t_ms;
		}
		k_mutex_unlock(&grab_mtx);
		return ok ? (int32_t)frame : -EIO;
	}
}

#else  /* ROSE_CAMERA_DMA == 0 */

void camera_dma_init(void) {}
uint32_t camera_dma_frames(void) { return 0; }
uint32_t camera_dma_last_mean(void) { return 0; }
void camera_dma_request_snapshot(uint32_t seq, int w, int h) { (void)seq; (void)w; (void)h; }
int32_t camera_dma_grab_gray(uint8_t *dst, int w, int h, int32_t timeout_ms, int64_t *t_capture_ms)
{
	(void)dst; (void)w; (void)h; (void)timeout_ms; (void)t_capture_ms;
	return -1;
}

#endif
```

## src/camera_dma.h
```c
/*
 * Copyright (c) 2026 UC Berkeley
 * SPDX-License-Identifier: Apache-2.0
 *
 * Camera frame capture for the FPGA flight controller (ROSE_CAMERA_DMA). On a DMA-capable OSPI shell
 * (RocketArty200TDroneFullDDRDmaConfig), a dedicated LOW-priority thread configures the HM01B0 and
 * continuously DMAs frames straight into a DDR buffer -- no CPU per-pixel drain, so the ~2 kHz
 * control loop is undisturbed. The control loop doesn't consume pixels yet; it only reads the frame
 * counter for telemetry (proves camera capture is integrated + running alongside the loop).
 */
#ifndef ROSE_CAMERA_DMA_H_
#define ROSE_CAMERA_DMA_H_

#include <stdint.h>

#ifndef ROSE_CAMERA_DMA
#define ROSE_CAMERA_DMA 0
#endif

#ifdef __cplusplus
extern "C" {
#endif

void     camera_dma_init(void);    /* start the capture thread (no-op if ROSE_CAMERA_DMA=0) */
uint32_t camera_dma_frames(void);  /* frames DMA'd since boot (0 if disabled) */
uint32_t camera_dma_last_mean(void); /* mean pixel of the last frame (cheap liveness signal) */

/* Request an on-demand snapshot: the capture thread nearest-neighbour downsamples the next frame to
 * w x h and streams it as base64 "IMG s=<seq> k=.." lines over uart1 (relayed to the GCS). seq tags
 * the frame so the GCS can group its chunks; w/h are clamped to [8, sensor size]. */
void camera_dma_request_snapshot(uint32_t seq, int w, int h);

/* On-board consumer (DroNet): capture the next frame, box-average it to w x h grayscale into dst, set
 * *t_capture_ms to its k_uptime_get() capture time, and return its frame number (> 0). Blocks up to
 * timeout_ms. Returns -EAGAIN on timeout, -EIO when the capture was not edge-aligned, filled and fully
 * DMA'd (dst untouched), -EINVAL for a bad size (w * h > CAMERA_DMA_GRAB_MAX), and < 0 when camera
 * capture is compiled out. One caller at a time. */
#define CAMERA_DMA_GRAB_MAX (112 * 112)
int32_t camera_dma_grab_gray(uint8_t *dst, int w, int h, int32_t timeout_ms, int64_t *t_capture_ms);

#ifdef __cplusplus
}
#endif

#endif /* ROSE_CAMERA_DMA_H_ */
```

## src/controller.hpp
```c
/*
 * Copyright (c) 2026 UC Berkeley
 * SPDX-License-Identifier: Apache-2.0
 *
 * Pluggable CONTROLLER interface for the RoSE flight controller -- the control-law analog of
 * IStateEstimator. Every controller maps the 12-DoF state (+ hover setpoint) to 4 normalized
 * motor thrusts; the active one is selected at build time (controller_factory.cpp,
 * -DROSE_USE_PID). New control laws drop in behind this interface without touching main.cpp.
 * Implementations:
 *   - TinympcController (controller_tinympc.*): constrained TinyMPC (model-predictive); default.
 *   - HierarchicalPidController (controller_pid.*): cascaded altitude/attitude/rate first-order
 *     control, ported from the original riskybird FreeRTOS firmware.
 */
#ifndef ROSE_CONTROLLER_HPP
#define ROSE_CONTROLLER_HPP

#define CTRL_NSTATES  12
#define CTRL_NACTIONS 4

struct IController {
	/* One-time setup (solver caches / gains). Called after the estimator is initialized. */
	virtual void init() = 0;

	/* One control step. state/setpoint are the 12-DoF vector
	 *   [x, y, z, r1, r2, r3, vx, vy, vz, wx, wy, wz]   (Rodrigues attitude; for small angles
	 *   r1/r2/r3 ~ roll/pitch/yaw). x/y are unobservable from flow -- regulate velocity.
	 * u_out: 4 normalized motor thrusts in the ~[-0.583, 0.417] convention (u + 0.583 = per-motor
	 * duty in [0,1]), consumed by send_control() (which clamps and applies the bench cap). */
	virtual void compute(const float state[CTRL_NSTATES], const float setpoint[CTRL_NSTATES],
			     float u_out[CTRL_NACTIONS], float dt) = 0;

	/* Human-readable name (boot log). */
	virtual const char *name() const = 0;

	virtual ~IController() {}
};

/* Build-time-selected controller singleton (-DROSE_USE_PID=1 -> hierarchical PID, else TinyMPC).
 * Defined in controller_factory.cpp. */
IController &active_controller();

#endif /* ROSE_CONTROLLER_HPP */
```

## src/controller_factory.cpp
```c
/*
 * Copyright (c) 2026 UC Berkeley
 * SPDX-License-Identifier: Apache-2.0
 *
 * Build-time selection of the active controller. Default is TinyMPC (constrained MPC); build with
 * -DROSE_USE_PID=1 to use the hierarchical PID cascade instead. Adding a new control law is just
 * a new IController subclass plus a branch here (mirrors estimator_factory.cpp).
 */

#include "controller.hpp"
#include "controller_tinympc.hpp"
#include "controller_pid.hpp"

#ifndef ROSE_USE_PID
#define ROSE_USE_PID 0
#endif

/* File-scope (not function-local) static: avoids __cxa_guard_* which the minimal libcpp
 * config (CONFIG_REQUIRES_FULL_LIBCPP=n) does not provide. */
#if ROSE_USE_PID
static HierarchicalPidController g_controller;
#else
static TinympcController g_controller;
#endif

IController &active_controller()
{
	return g_controller;
}
```

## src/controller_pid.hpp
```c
/*
 * Copyright (c) 2026 UC Berkeley
 * SPDX-License-Identifier: Apache-2.0
 *
 * Hierarchical (cascaded) PID controller -- the alternate control law, ported from the original
 * riskybird FreeRTOS firmware (CobbledSteel/riskybird-firmware, main/i2c_simple_main.cpp).
 * Four nested first-order loops: altitude -> horizontal velocity -> attitude -> body rate,
 * then a physical mixer maps [thrust, roll/pitch/yaw moment] to 4 motor duties. Stateless
 * (pure P/PD cascade, no integrators), so compute() is a pure function of state + setpoint.
 */
#ifndef ROSE_CONTROLLER_PID_HPP
#define ROSE_CONTROLLER_PID_HPP

#include "controller.hpp"

struct HierarchicalPidController : IController {
	/* Clear the integrators / held state so EACH flight (and each soft-RESET) starts fresh. Without
	 * this the altitude integral (auto hover-thrust) and velocity integral (drift trim) carry over
	 * between flights when the on-ground reset doesn't fire -> the next flight over-thrusts (altitude
	 * overshoot -> height watchdog) and over-tilts (growing drift). */
	void init() override {
		pos_ref_1 = pos_ref_2 = 0.0f;
		alt_int = 0.0f;
		vel_int_1 = vel_int_2 = 0.0f;
		desRoll_prev = desPitch_prev = 0.0f;
	}
	void compute(const float state[CTRL_NSTATES], const float setpoint[CTRL_NSTATES],
		     float u_out[CTRL_NACTIONS], float dt) override;
	const char *name() const override { return "hierarchical PID (cascaded)"; }

private:
	float pos_ref_1 = 0.0f, pos_ref_2 = 0.0f;         /* ROSE_POS_LOOP dead-reckoned position ref */
	float alt_int = 0.0f;                             /* altitude integral (KI_HEIGHT) -> hover FF */
	float vel_int_1 = 0.0f, vel_int_2 = 0.0f;         /* velocity integral (KI_VEL) -> drift trim */
	float desRoll_prev = 0.0f, desPitch_prev = 0.0f;  /* tilt slew-limiter state */
};

#endif /* ROSE_CONTROLLER_PID_HPP */
```

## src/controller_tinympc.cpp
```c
/*
 * Copyright (c) 2026 UC Berkeley
 * SPDX-License-Identifier: Apache-2.0
 *
 * TinyMPC controller implementation. Solver caches/workspace + init and one-step solve, moved
 * verbatim from main.cpp behind the IController interface (behaviour unchanged).
 */
#include "controller_tinympc.hpp"

#include "admm.hpp"
#include "problem_data/quadrotor_50hz_params_constrained.hpp"
#include "glob_opts.hpp"

/* TinyMPC (single drone) -- file-scope so no __cxa_guard_* (minimal libcpp). */
static TinyCache     cache;
static TinyWorkspace work;
static TinySettings  settings;
static TinySolver    solver;

void TinympcController::init()
{
	enable_vector_operations();

	solver.cache    = &cache;
	solver.work     = &work;
	solver.settings = &settings;
	tiny_init(&solver);

	init_VectorNx(&work.x1);
	init_VectorNx(&work.x2);
	init_VectorNx(&work.x3);
	init_VectorNu(&work.u1);
	init_VectorNu(&work.u2);

	cache.rho = rho_value;
	matsetv(cache.Kinf.data, Kinf_data, cache.Kinf.outer, cache.Kinf.inner);
	transpose(cache.Kinf.data, cache.KinfT.data, NINPUTS, NSTATES);
	matsetv(cache.Pinf.data, Pinf_data, cache.Pinf.outer, cache.Pinf.inner);
	transpose(cache.Pinf.data, cache.PinfT.data, NSTATES, NSTATES);
	matsetv(cache.Quu_inv.data, Quu_inv_data, cache.Quu_inv.outer, cache.Quu_inv.inner);
	matsetv(cache.AmBKt.data, AmBKt_data, cache.AmBKt.outer, cache.AmBKt.inner);
	transpose(cache.AmBKt.data, cache.AmBKtT.data, NSTATES, NSTATES);
	matsetv(cache.coeff_d2p.data, coeff_d2p_data, cache.coeff_d2p.outer, cache.coeff_d2p.inner);

	matsetv(work.Adyn.data, Adyn_data, work.Adyn.outer, work.Adyn.inner);
	transpose(work.Adyn.data, work.AdynT.data, NSTATES, NSTATES);
	matsetv(work.Bdyn.data, Bdyn_data, work.Bdyn.outer, work.Bdyn.inner);
	transpose(work.Bdyn.data, work.BdynT.data, NSTATES, NINPUTS);
	matsetv(work.Q.data, Q_data, work.Q.outer, work.Q.inner);
	matsetv(work.R.data, R_data, work.R.outer, work.R.inner);

	matset(work.u_min.data, -0.583, work.u_min.outer, work.u_min.inner);
	matset(work.u_max.data, 1 - 0.583, work.u_max.outer, work.u_max.inner);
	matset(work.x_min.data, -5, work.x_min.outer, work.x_min.inner);
	matset(work.x_max.data, 5, work.x_max.outer, work.x_max.inner);

	float Xref_origin[NSTATES] = {0};
	for (int j = 0; j < NHORIZON; j++) {
		matsetv(work.Xref.vector[j], Xref_origin, 1, NSTATES);
	}
}

void TinympcController::compute(const float state[CTRL_NSTATES], const float setpoint[CTRL_NSTATES],
			       float u_out[CTRL_NACTIONS], float dt)
{
	(void)dt;   /* TinyMPC gains are baked at the 50 Hz design rate */
	float err[NSTATES];
	for (int i = 0; i < NSTATES; i++) {
		err[i] = state[i] - setpoint[i];
	}
	err[0] = 0.0f; err[1] = 0.0f;   /* x/y position unobservable from flow -> regulate velocity */
	matsetv(work.x.vector[0], err, 1, NSTATES);
	matset(work.y.data, 0.0, work.y.outer, work.y.inner);
	matset(work.g.data, 0.0, work.g.outer, work.g.inner);
	tiny_solve(&solver);
	for (int i = 0; i < CTRL_NACTIONS; i++) {
		u_out[i] = work.u.vector[0][i];
	}
}
```

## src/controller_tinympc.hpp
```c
/*
 * Copyright (c) 2026 UC Berkeley
 * SPDX-License-Identifier: Apache-2.0
 *
 * TinyMPC controller: constrained model-predictive control (the original/default control law).
 * Wraps the TinyMPC solver behind IController; solver caches + workspace live in the .cpp.
 */
#ifndef ROSE_CONTROLLER_TINYMPC_HPP
#define ROSE_CONTROLLER_TINYMPC_HPP

#include "controller.hpp"

struct TinympcController : IController {
	void init() override;
	void compute(const float state[CTRL_NSTATES], const float setpoint[CTRL_NSTATES],
		     float u_out[CTRL_NACTIONS], float dt) override;
	const char *name() const override { return "TinyMPC (constrained MPC)"; }
};

#endif /* ROSE_CONTROLLER_TINYMPC_HPP */
```

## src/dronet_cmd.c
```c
/*
 * Copyright (c) 2026 UC Berkeley
 * SPDX-License-Identifier: Apache-2.0
 *
 * See dronet_cmd.h. A spinlock rather than a mutex: the critical section is a small copy, and the
 * control loop (prio 0) must never block behind the lower-priority inference thread.
 */
#include "dronet_cmd.h"

#include <zephyr/kernel.h>
#include <zephyr/spinlock.h>

static struct k_spinlock lock;
static struct dronet_cmd latest;

void dronet_cmd_publish(int8_t steer_q, int8_t coll_q, int64_t t_capture_ms)
{
	k_spinlock_key_t key = k_spin_lock(&lock);

	latest.seq++;
	latest.t_ms = t_capture_ms;
	latest.steer_q = steer_q;
	latest.coll_q = coll_q;
	latest.valid = true;
	k_spin_unlock(&lock, key);
}

void dronet_cmd_invalidate(void)
{
	k_spinlock_key_t key = k_spin_lock(&lock);

	latest.valid = false;
	k_spin_unlock(&lock, key);
}

bool dronet_cmd_latest(struct dronet_cmd *out)
{
	k_spinlock_key_t key = k_spin_lock(&lock);

	*out = latest;
	k_spin_unlock(&lock, key);
	return out->seq != 0 && out->valid;
}
```

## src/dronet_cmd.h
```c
/*
 * Copyright (c) 2026 UC Berkeley
 * SPDX-License-Identifier: Apache-2.0
 *
 * Latest DroNet output, handed from the inference thread (rose_fc_dronet/src/dronet_thread.c) to the
 * control loop (ROSE_DRONET_NAV). Raw int8 outputs plus the time of the camera frame they were
 * computed from; the control loop dequantizes and applies its own staleness timeout
 * (fc_dronet_nav.h), so the timeout covers capture + inference + hand-off end to end.
 */
#ifndef ROSE_DRONET_CMD_H_
#define ROSE_DRONET_CMD_H_

#include <stdbool.h>
#include <stdint.h>

#ifdef __cplusplus
extern "C" {
#endif

struct dronet_cmd {
	uint32_t seq;      /* publishes since boot (1 = first) */
	int64_t  t_ms;     /* k_uptime_get() when the source frame was captured */
	int8_t   steer_q;  /* output[0], linear1 */
	int8_t   coll_q;   /* output[1], sigmoid1 */
	bool     valid;    /* false after dronet_cmd_invalidate() */
};

void dronet_cmd_publish(int8_t steer_q, int8_t coll_q, int64_t t_capture_ms);

/* Withdraw the latest command at once (inference found corrupt), instead of letting it time out. */
void dronet_cmd_invalidate(void);

/* Copy of the latest command; false until the first publish or after an invalidate. */
bool dronet_cmd_latest(struct dronet_cmd *out);

#ifdef __cplusplus
}
#endif

#endif /* ROSE_DRONET_CMD_H_ */
```
